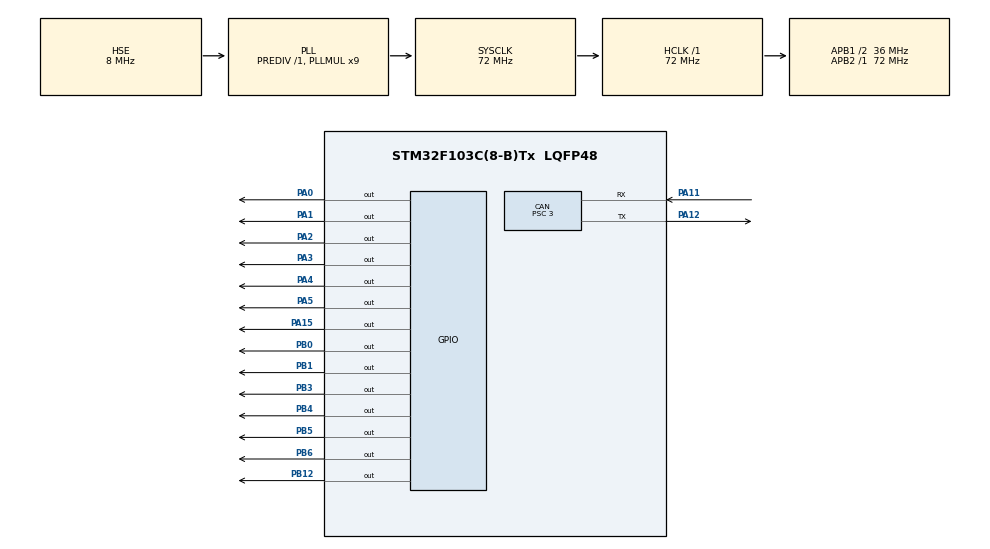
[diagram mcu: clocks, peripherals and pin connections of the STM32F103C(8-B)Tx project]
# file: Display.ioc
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CAN.BS1=CAN_BS1_9TQ
CAN.BS2=CAN_BS2_2TQ
CAN.CalculateTimeBit=1000
CAN.CalculateTimeQuantum=83.33333333333334
CAN.NART=ENABLE
CAN.Prescaler=3
CAN.TTCM=ENABLE
Mcu.Family=STM32F1
Mcu.Name=STM32F103C(8-B)Tx
Mcu.Package=LQFP48
NVIC.PriorityGroup=NVIC_PRIORITYGROUP_4
NVIC.USB_LP_CAN1_RX0_IRQn=true\:0\:0\:false\:false\:true\:true\:true
PA0-WKUP.Signal=GPIO_Output
PA1.Signal=GPIO_Output
PA11.Mode=Master
PA11.Signal=CAN_RX
PA12.Mode=Master
PA12.Signal=CAN_TX
PA13.Mode=Serial_Wire
PA13.Signal=SYS_JTMS-SWDIO
PA14.Mode=Serial_Wire
PA14.Signal=SYS_JTCK-SWCLK
PA15.Signal=GPIO_Output
PA2.Signal=GPIO_Output
PA3.Signal=GPIO_Output
PA4.Signal=GPIO_Output
PA5.Signal=GPIO_Output
PB0.Signal=GPIO_Output
PB1.Signal=GPIO_Output
PB12.Signal=GPIO_Output
PB3.Signal=GPIO_Output
PB4.Signal=GPIO_Output
PB5.Signal=GPIO_Output
PB6.Signal=GPIO_Output
PD0-OSC_IN.Mode=HSE-External-Oscillator
PD0-OSC_IN.Signal=RCC_OSC_IN
PD1-OSC_OUT.Mode=HSE-External-Oscillator
PD1-OSC_OUT.Signal=RCC_OSC_OUT
ProjectManager.HeapSize=0x200
ProjectManager.StackSize=0x400
ProjectManager.TargetToolchain=MDK-ARM V5
RCC.AHBFreq_Value=72000000
RCC.APB1CLKDivider=RCC_HCLK_DIV2
RCC.APB1Freq_Value=36000000
RCC.APB1TimFreq_Value=72000000
RCC.APB2Freq_Value=72000000
RCC.APB2TimFreq_Value=72000000
RCC.HCLKFreq_Value=72000000
RCC.PLLMUL=RCC_PLL_MUL9
RCC.PLLSourceVirtual=RCC_PLLSOURCE_HSE
RCC.SYSCLKFreq_VALUE=72000000
RCC.SYSCLKSource=RCC_SYSCLKSOURCE_PLLCLK
RCC.USBFreq_Value=72000000
TIM1.Period=0xffff-1
TIM1.Prescaler=72-1
VP_TIM1_VS_ClockSourceINT.Mode=Internal
board=custom

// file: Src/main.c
/* USER CODE BEGIN Header */
/**
  ******************************************************************************
  * @file           : main.c
  * @brief          : Main program body
  ******************************************************************************
  * @attention
  *
  * <h2><center>&copy; Copyright (c) 2020 STMicroelectronics.
  * All rights reserved.</center></h2>
  *
  * This software component is licensed by ST under BSD 3-Clause license,
  * the "License"; You may not use this file except in compliance with the
  * License. You may obtain a copy of the License at:
  *                        opensource.org/licenses/BSD-3-Clause
  *
  ******************************************************************************
  */
/* USER CODE END Header */
#include "main.h"

/* USER CODE BEGIN Includes */
#include "fonts.h"
#include "tft.h"
#include "functions.h"
#include "user_setting.h"
#include "stdio.h"

/* USER CODE END Includes */

/* USER CODE BEGIN PTD */
CAN_RxHeaderTypeDef RxHeader;
CAN_FilterTypeDef set_Filter_up;
CAN_TxHeaderTypeDef TxHeader;
/* USER CODE END PTD */

CAN_HandleTypeDef hcan;

TIM_HandleTypeDef htim1;

/* USER CODE BEGIN PV */
int flag_can = 0;
uint32_t TxMailbox;
uint8_t Display_data[32];
/* USER CODE END PV */

void SystemClock_Config(void);
static void MX_GPIO_Init(void);
static void MX_TIM1_Init(void);
static void MX_CAN_Init(void);
/* USER CODE BEGIN PFP */
void Set_Display_Up (void);
void Display_show ( uint8_t speed , uint8_t charge , uint8_t Error);
void Display_protocol (void);
/* USER CODE END PFP */

int main(void)
{

  /* MCU Configuration--------------------------------------------------------*/

  /* Reset of all peripherals, Initializes the Flash interface and the Systick. */
  HAL_Init();

  /* Configure the system clock */
  SystemClock_Config();

  /* Initialize all configured peripherals */
  MX_GPIO_Init();
  MX_TIM1_Init();
  MX_CAN_Init();
  /* USER CODE BEGIN 2 */
	HAL_TIM_Base_Start(&htim1);

	Set_Display_Up();
  /* USER CODE END 2 */

  /* Infinite loop */
  while (1)
  {

  }
}

void SystemClock_Config(void)
{
  RCC_OscInitTypeDef RCC_OscInitStruct = {0};
  RCC_ClkInitTypeDef RCC_ClkInitStruct = {0};

  /** Initializes the RCC Oscillators according to the specified parameters
  * in the RCC_OscInitTypeDef structure.
  */
  RCC_OscInitStruct.OscillatorType = RCC_OSCILLATORTYPE_HSE;
  RCC_OscInitStruct.HSEState = RCC_HSE_ON;
  RCC_OscInitStruct.HSEPredivValue = RCC_HSE_PREDIV_DIV1;
  RCC_OscInitStruct.HSIState = RCC_HSI_ON;
  RCC_OscInitStruct.PLL.PLLState = RCC_PLL_ON;
  RCC_OscInitStruct.PLL.PLLSource = RCC_PLLSOURCE_HSE;
  RCC_OscInitStruct.PLL.PLLMUL = RCC_PLL_MUL9;
  if (HAL_RCC_OscConfig(&RCC_OscInitStruct) != HAL_OK)
  {
    Error_Handler();
  }
  /** Initializes the CPU, AHB and APB buses clocks
  */
  RCC_ClkInitStruct.ClockType = RCC_CLOCKTYPE_HCLK|RCC_CLOCKTYPE_SYSCLK
                              |RCC_CLOCKTYPE_PCLK1|RCC_CLOCKTYPE_PCLK2;
  RCC_ClkInitStruct.SYSCLKSource = RCC_SYSCLKSOURCE_PLLCLK;
  RCC_ClkInitStruct.AHBCLKDivider = RCC_SYSCLK_DIV1;
  RCC_ClkInitStruct.APB1CLKDivider = RCC_HCLK_DIV2;
  RCC_ClkInitStruct.APB2CLKDivider = RCC_HCLK_DIV1;

  if (HAL_RCC_ClockConfig(&RCC_ClkInitStruct, FLASH_LATENCY_2) != HAL_OK)
  {
    Error_Handler();
  }
}

static void MX_CAN_Init(void)
{

  hcan.Instance = CAN1;
  hcan.Init.Prescaler = 3;
  hcan.Init.Mode = CAN_MODE_NORMAL;
  hcan.Init.SyncJumpWidth = CAN_SJW_1TQ;
  hcan.Init.TimeSeg1 = CAN_BS1_9TQ;
  hcan.Init.TimeSeg2 = CAN_BS2_2TQ;
  hcan.Init.TimeTriggeredMode = ENABLE;
  hcan.Init.AutoBusOff = DISABLE;
  hcan.Init.AutoWakeUp = DISABLE;
  hcan.Init.AutoRetransmission = ENABLE;
  hcan.Init.ReceiveFifoLocked = DISABLE;
  hcan.Init.TransmitFifoPriority = DISABLE;
  if (HAL_CAN_Init(&hcan) != HAL_OK)
  {
    Error_Handler();
  }

}

static void MX_TIM1_Init(void)
{

  TIM_ClockConfigTypeDef sClockSourceConfig = {0};
  TIM_MasterConfigTypeDef sMasterConfig = {0};

  htim1.Instance = TIM1;
  htim1.Init.Prescaler = 72-1;
  htim1.Init.CounterMode = TIM_COUNTERMODE_UP;
  htim1.Init.Period = 0xffff-1;
  htim1.Init.ClockDivision = TIM_CLOCKDIVISION_DIV1;
  htim1.Init.RepetitionCounter = 0;
  htim1.Init.AutoReloadPreload = TIM_AUTORELOAD_PRELOAD_DISABLE;
  if (HAL_TIM_Base_Init(&htim1) != HAL_OK)
  {
    Error_Handler();
  }
  sClockSourceConfig.ClockSource = TIM_CLOCKSOURCE_INTERNAL;
  if (HAL_TIM_ConfigClockSource(&htim1, &sClockSourceConfig) != HAL_OK)
  {
    Error_Handler();
  }
  sMasterConfig.MasterOutputTrigger = TIM_TRGO_RESET;
  sMasterConfig.MasterSlaveMode = TIM_MASTERSLAVEMODE_DISABLE;
  if (HAL_TIMEx_MasterConfigSynchronization(&htim1, &sMasterConfig) != HAL_OK)
  {
    Error_Handler();
  }

}

static void MX_GPIO_Init(void)
{
  GPIO_InitTypeDef GPIO_InitStruct = {0};

  /* GPIO Ports Clock Enable */
  __HAL_RCC_GPIOD_CLK_ENABLE();
  __HAL_RCC_GPIOA_CLK_ENABLE();
  __HAL_RCC_GPIOB_CLK_ENABLE();

  /*Configure GPIO pin Output Level */
  HAL_GPIO_WritePin(GPIOA, GPIO_PIN_0|GPIO_PIN_1|GPIO_PIN_2|GPIO_PIN_3
                          |GPIO_PIN_4|GPIO_PIN_5|GPIO_PIN_15, GPIO_PIN_RESET);

  /*Configure GPIO pin Output Level */
  HAL_GPIO_WritePin(GPIOB, GPIO_PIN_0|GPIO_PIN_1|GPIO_PIN_12|GPIO_PIN_3
                          |GPIO_PIN_4|GPIO_PIN_5|GPIO_PIN_6, GPIO_PIN_RESET);

  /*Configure GPIO pins : PA0 PA1 PA2 PA3
                           PA4 PA5 PA15 */
  GPIO_InitStruct.Pin = GPIO_PIN_0|GPIO_PIN_1|GPIO_PIN_2|GPIO_PIN_3
                          |GPIO_PIN_4|GPIO_PIN_5|GPIO_PIN_15;
  GPIO_InitStruct.Mode = GPIO_MODE_OUTPUT_PP;
  GPIO_InitStruct.Pull = GPIO_NOPULL;
  GPIO_InitStruct.Speed = GPIO_SPEED_FREQ_LOW;
  HAL_GPIO_Init(GPIOA, &GPIO_InitStruct);

  /*Configure GPIO pins : PB0 PB1 PB12 PB3
                           PB4 PB5 PB6 */
  GPIO_InitStruct.Pin = GPIO_PIN_0|GPIO_PIN_1|GPIO_PIN_12|GPIO_PIN_3
                          |GPIO_PIN_4|GPIO_PIN_5|GPIO_PIN_6;
  GPIO_InitStruct.Mode = GPIO_MODE_OUTPUT_PP;
  GPIO_InitStruct.Pull = GPIO_NOPULL;
  GPIO_InitStruct.Speed = GPIO_SPEED_FREQ_LOW;
  HAL_GPIO_Init(GPIOB, &GPIO_InitStruct);

}

/* USER CODE BEGIN 4 */
void CAN_Setup(void){
//---------Configurações de filtro e máscara---------

	set_Filter_up.FilterIdHigh = 0x500<<5;
	set_Filter_up.FilterIdLow = 0;
	set_Filter_up.FilterMaskIdHigh = 0x700<<5;
	set_Filter_up.FilterMaskIdLow = 0;
	set_Filter_up.FilterFIFOAssignment = CAN_FILTER_FIFO0;
	set_Filter_up.FilterBank = 0;
	set_Filter_up.FilterMode = CAN_FILTERMODE_IDMASK;
	set_Filter_up.FilterScale = CAN_FILTERSCALE_32BIT;
	set_Filter_up.FilterActivation = ENABLE;
	HAL_CAN_ConfigFilter(&hcan, &set_Filter_up);

//---------Configurações do envio--------------------

	TxHeader.IDE = CAN_ID_STD;
	TxHeader.RTR = CAN_RTR_DATA;

//---------Início do funcionamento CAN---------------

	HAL_CAN_Start(&hcan);
	HAL_CAN_ActivateNotification(&hcan, CAN_IT_RX_FIFO0_MSG_PENDING);

}

void Set_Display_Up(void){

  tft_init (readID());

  setRotation(0);

  fillScreen(BLACK);
	setRotation(1);

	drawRoundRect(0, 0, 280, 35, 30, YELLOW);
  fillRoundRect(0, 0, 280, 35, 30, YELLOW);

	printnewtstr(25, BLACK, &mono18x7bold, 1, "EESC USP TUPÃ");

  invertDisplay(0);
}

void Display_show ( uint8_t speed , uint8_t charge , uint8_t Error){

}

void Display_protocol (void){

}

void Can_Rx_Wait (void){
	while(flag_can);
	flag_can = 0;
}

void Call_msg_control (void){

	uint8_t dummy = 0x42;

	TxHeader.StdId = 0x320;
	TxHeader.DLC = 1;
	HAL_CAN_AddTxMessage(&hcan,&TxHeader, &dummy , &TxMailbox);

	Can_Rx_Wait();

}
/* USER CODE END 4 */

void Error_Handler(void)
{
}

/************************ (C) COPYRIGHT STMicroelectronics *****END OF FILE****/
